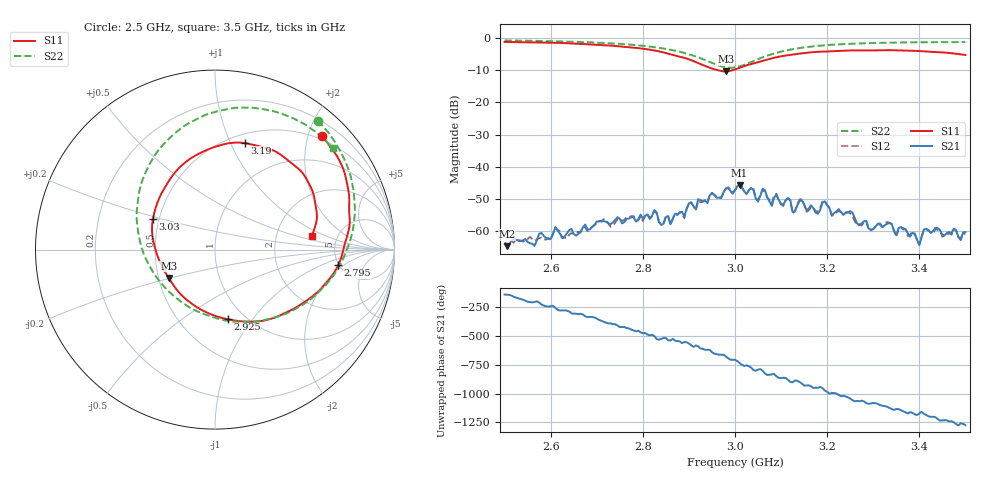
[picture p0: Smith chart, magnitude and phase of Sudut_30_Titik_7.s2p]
# Hz S RI R 50
! CMT, C1220, 16058040, 17.2.0/1
! Date: 15/08/2018 10:06:40
! Data: Format (Calibration Info)
! Freq  S11: Re/Im (F2)  S21: Re/Im (F2)  S12: Re/Im (F2)  S22: Re/Im (F2)
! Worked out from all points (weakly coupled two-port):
!   201 points, 2.5 GHz to 3.5 GHz, reference 50 ohm
!   highest |S21| = -45.64 dB at 3.01 GHz (marker M1); lowest = -64.7 dB at 2.505 GHz (marker M2)
!   lowest |S11| = -10.4 dB at 2.98 GHz (marker M3), VSWR 1.87, Z = 28.2 - j9.84 ohm
!   |S11| at or under -10 dB: 2.964 GHz to 2.995 GHz (30.97 MHz wide, 1.04 % of centre)
!   |S22| runs from -9.2 to -0.7 dB; largest |S21 - S12| = 0.00039
!   S11 on the Smith chart (normalised r, x): 2.5 GHz: 0.43, +2.26; 2.795 GHz: 4.91, -1.64; 2.925 GHz: 0.83, -0.76; 3.03 GHz: 0.46, +0.19; 3.19 GHz: 0.59, +1.13; 3.5 GHz: 3.22, +0.72
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2.5e9  0.5988 0.6316  -0.000515 -0.00036  -0.000553 -0.000374  0.5723 0.7173
2.505e9  0.6051 0.624  -0.000485 -0.000327  -0.000511 -0.000324  0.5779 0.7119
2.67e9  0.7461 0.3114  0.000851 0.000783  0.000857 0.000781  0.7452 0.4433
2.795e9  0.6859 -0.0874  -0.000647 -0.00169  -0.000612 -0.00157  0.7607 0.0785
2.835e9  0.5776 -0.231  -0.00141 -0.000122  -0.00135 -0.000195  0.7022 -0.0747
2.925e9  0.07 -0.3883  -0.00105 0.00285  -0.00115 0.00257  0.2941 -0.3886
2.98e9  -0.2581 -0.1581  0.00349 0.00303  0.00334 0.00298  -0.1421 -0.3221
3e9  -0.3247 -0.0231  0.00428 0.000852  0.00427 0.000648  -0.2791 -0.2114
3.01e9  -0.3425 0.0431  0.005 -0.0015  0.00482 -0.00134  -0.3353 -0.1413
3.03e9  -0.3463 0.1709  0.0031 -0.003  0.00314 -0.00296  -0.4101 0.0138
3.06e9  -0.2823 0.3409  0.000488 -0.00454  0.000285 -0.00442  -0.4319 0.2524
3.08e9  -0.2208 0.4323  -0.00101 -0.00226  -0.00108 -0.00247  -0.4022 0.3932
3.115e9  -0.0924 0.5332  -0.00309 -0.00104  -0.0031 -0.000907  -0.2924 0.5811
3.125e9  -0.0537 0.5517  -0.00199 0.000108  -0.00189 0.000163  -0.2531 0.6213
3.145e9  0.0209 0.5792  -0.00295 0.000731  -0.00302 0.000998  -0.1756 0.6862
3.17e9  0.1033 0.5955  -0.0014 0.0018  -0.00152 0.00168  -0.0762 0.7402
3.19e9  0.1656 0.5938  -0.00165 0.00226  -0.00152 0.00246  -0.00219 0.7665
3.29e9  0.4116 0.4931  0.00109 -0.000173  0.00105 -0.000157  0.3059 0.7755
3.335e9  0.4883 0.4265  0.000967 -0.00093  0.000919 -0.000993  0.4075 0.7438
3.4e9  0.5498 0.3044  -1.99e-05 -0.000612  -7.33e-05 -0.000601  0.5252 0.6807
3.415e9  0.5567 0.2692  -0.000289 -0.00105  -0.000285 -0.00104  0.5492 0.6644
3.5e9  0.5397 0.0784  -0.000944 0.000226  -0.000854 0.000257  0.6567 0.5649
